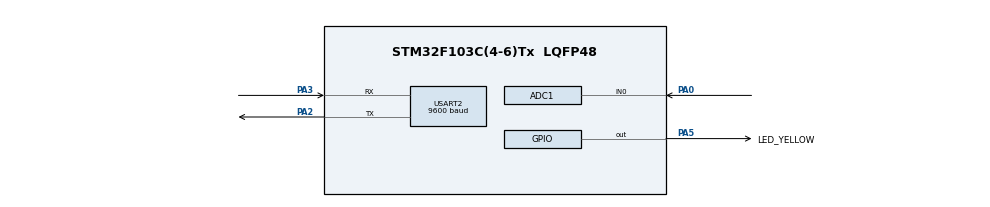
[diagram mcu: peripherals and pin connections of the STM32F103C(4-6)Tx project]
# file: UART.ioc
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ADC1.Channel-0\#ChannelRegularConversion=ADC_CHANNEL_0
ADC1.ContinuousConvMode=ENABLE
ADC1.NbrOfConversionFlag=1
ADC1.Rank-0\#ChannelRegularConversion=1
ADC1.SamplingTime-0\#ChannelRegularConversion=ADC_SAMPLETIME_1CYCLE_5
ADC1.master=1
Mcu.Family=STM32F1
Mcu.Name=STM32F103C(4-6)Tx
Mcu.Package=LQFP48
NVIC.PriorityGroup=NVIC_PRIORITYGROUP_4
NVIC.TIM2_IRQn=true\:0\:0\:false\:false\:true\:true\:true
NVIC.USART2_IRQn=true\:0\:0\:false\:false\:true\:true\:true
PA0-WKUP.Signal=ADCx_IN0
PA2.Mode=Asynchronous
PA2.Signal=USART2_TX
PA3.Mode=Asynchronous
PA3.Signal=USART2_RX
PA5.GPIO_Label=LED_YELLOW
PA5.Signal=GPIO_Output
ProjectManager.HeapSize=0x200
ProjectManager.StackSize=0x400
ProjectManager.TargetToolchain=STM32CubeIDE
RCC.APB1Freq_Value=8000000
RCC.APB2Freq_Value=8000000
SH.ADCx_IN0.0=ADC1_IN0,IN0
TIM2.Period=9
TIM2.Prescaler=7999
USART2.BaudRate=9600
USART2.VirtualMode=VM_ASYNC
VP_SYS_VS_ND.Mode=No_Debug
VP_TIM2_VS_ClockSourceINT.Mode=Internal
board=custom

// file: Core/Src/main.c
/* USER CODE BEGIN Header */
/**
  ******************************************************************************
  * @file           : main.c
  * @brief          : Main program body
  ******************************************************************************
  * @attention
  *
  * <h2><center>&copy; Copyright (c) 2022 STMicroelectronics.
  * All rights reserved.</center></h2>
  *
  * This software component is licensed by ST under BSD 3-Clause license,
  * the "License"; You may not use this file except in compliance with the
  * License. You may obtain a copy of the License at:
  *                        opensource.org/licenses/BSD-3-Clause
  *
  ******************************************************************************
  */
/* USER CODE END Header */
#include "main.h"

/* USER CODE BEGIN Includes */
#include<stdio.h>
#include"uart.h"
#include"timer.h"

/* USER CODE END Includes */

TIM_HandleTypeDef htim2;

void SystemClock_Config(void);
static void MX_GPIO_Init(void);
static void MX_ADC1_Init(void);
static void MX_USART2_UART_Init(void);
static void MX_TIM2_Init(void);

/* USER CODE BEGIN 0 */

void HAL_UART_RxCpltCallback(UART_HandleTypeDef *huart){
	 HAL_UART_Transmit(&huart2 , &temp , 1 , 50);
	 if(huart->Instance==USART2 ){
		 buffer[index_buffer++]=temp;
		 if(index_buffer == MAX_BUFFER_SIZE){
			 index_buffer = 0;
		 }
		 buffer_flag = 1;

	 }
 	 HAL_UART_Receive_IT(&huart2 , &temp , 1);
}

/* USER CODE END 0 */

int main(void)
{

  /* MCU Configuration--------------------------------------------------------*/

  /* Reset of all peripherals, Initializes the Flash interface and the Systick. */
  HAL_Init();

  /* Configure the system clock */
  SystemClock_Config();

  /* Initialize all configured peripherals */
  MX_GPIO_Init();
  MX_ADC1_Init();
  MX_USART2_UART_Init();
  MX_TIM2_Init();
  /* USER CODE BEGIN 2 */
  setTimer1(10);
  setTimer2(10);
  HAL_UART_Receive_IT(&huart2, &temp, 1);
  HAL_ADC_Start(&hadc1);
  HAL_TIM_Base_Start_IT(&htim2);

  /* USER CODE END 2 */

  /* Infinite loop */
  /* USER CODE BEGIN WHILE */
  while (1)
  {
	  /*
	  HAL_GPIO_TogglePin(LED_YELLOW_GPIO_Port , LED_YELLOW_Pin);
	  ADC_value = HAL_ADC_GetValue(&hadc1);
	  HAL_UART_Transmit (&huart2, (void *)str, sprintf(str ,"%d\n", ADC_value), 1000);
	  HAL_Delay (500) ;
	  */
	  if(buffer_flag==1){
		  command_parser_fsm();
		  buffer_flag=0;
	  }
	  uart_communiation_fsm();
	  if(isTimerFlagRaised(2)){
		  HAL_GPIO_TogglePin(LED_YELLOW_GPIO_Port, LED_YELLOW_Pin);
		  setTimer2(1000/10);
	  }

    /* USER CODE END WHILE */

  }
}

void SystemClock_Config(void)
{
  RCC_OscInitTypeDef RCC_OscInitStruct = {0};
  RCC_ClkInitTypeDef RCC_ClkInitStruct = {0};
  RCC_PeriphCLKInitTypeDef PeriphClkInit = {0};

  /** Initializes the RCC Oscillators according to the specified parameters
  * in the RCC_OscInitTypeDef structure.
  */
  RCC_OscInitStruct.OscillatorType = RCC_OSCILLATORTYPE_HSI;
  RCC_OscInitStruct.HSIState = RCC_HSI_ON;
  RCC_OscInitStruct.HSICalibrationValue = RCC_HSICALIBRATION_DEFAULT;
  RCC_OscInitStruct.PLL.PLLState = RCC_PLL_NONE;
  if (HAL_RCC_OscConfig(&RCC_OscInitStruct) != HAL_OK)
  {
    Error_Handler();
  }
  /** Initializes the CPU, AHB and APB buses clocks
  */
  RCC_ClkInitStruct.ClockType = RCC_CLOCKTYPE_HCLK|RCC_CLOCKTYPE_SYSCLK
                              |RCC_CLOCKTYPE_PCLK1|RCC_CLOCKTYPE_PCLK2;
  RCC_ClkInitStruct.SYSCLKSource = RCC_SYSCLKSOURCE_HSI;
  RCC_ClkInitStruct.AHBCLKDivider = RCC_SYSCLK_DIV1;
  RCC_ClkInitStruct.APB1CLKDivider = RCC_HCLK_DIV1;
  RCC_ClkInitStruct.APB2CLKDivider = RCC_HCLK_DIV1;

  if (HAL_RCC_ClockConfig(&RCC_ClkInitStruct, FLASH_LATENCY_0) != HAL_OK)
  {
    Error_Handler();
  }
  PeriphClkInit.PeriphClockSelection = RCC_PERIPHCLK_ADC;
  PeriphClkInit.AdcClockSelection = RCC_ADCPCLK2_DIV2;
  if (HAL_RCCEx_PeriphCLKConfig(&PeriphClkInit) != HAL_OK)
  {
    Error_Handler();
  }
}

static void MX_ADC1_Init(void)
{

  ADC_ChannelConfTypeDef sConfig = {0};

  /** Common config
  */
  hadc1.Instance = ADC1;
  hadc1.Init.ScanConvMode = ADC_SCAN_DISABLE;
  hadc1.Init.ContinuousConvMode = ENABLE;
  hadc1.Init.DiscontinuousConvMode = DISABLE;
  hadc1.Init.ExternalTrigConv = ADC_SOFTWARE_START;
  hadc1.Init.DataAlign = ADC_DATAALIGN_RIGHT;
  hadc1.Init.NbrOfConversion = 1;
  if (HAL_ADC_Init(&hadc1) != HAL_OK)
  {
    Error_Handler();
  }
  /** Configure Regular Channel
  */
  sConfig.Channel = ADC_CHANNEL_0;
  sConfig.Rank = ADC_REGULAR_RANK_1;
  sConfig.SamplingTime = ADC_SAMPLETIME_1CYCLE_5;
  if (HAL_ADC_ConfigChannel(&hadc1, &sConfig) != HAL_OK)
  {
    Error_Handler();
  }

}

static void MX_TIM2_Init(void)
{

  TIM_ClockConfigTypeDef sClockSourceConfig = {0};
  TIM_MasterConfigTypeDef sMasterConfig = {0};

  htim2.Instance = TIM2;
  htim2.Init.Prescaler = 7999;
  htim2.Init.CounterMode = TIM_COUNTERMODE_UP;
  htim2.Init.Period = 9;
  htim2.Init.ClockDivision = TIM_CLOCKDIVISION_DIV1;
  htim2.Init.AutoReloadPreload = TIM_AUTORELOAD_PRELOAD_DISABLE;
  if (HAL_TIM_Base_Init(&htim2) != HAL_OK)
  {
    Error_Handler();
  }
  sClockSourceConfig.ClockSource = TIM_CLOCKSOURCE_INTERNAL;
  if (HAL_TIM_ConfigClockSource(&htim2, &sClockSourceConfig) != HAL_OK)
  {
    Error_Handler();
  }
  sMasterConfig.MasterOutputTrigger = TIM_TRGO_RESET;
  sMasterConfig.MasterSlaveMode = TIM_MASTERSLAVEMODE_DISABLE;
  if (HAL_TIMEx_MasterConfigSynchronization(&htim2, &sMasterConfig) != HAL_OK)
  {
    Error_Handler();
  }

}

static void MX_USART2_UART_Init(void)
{

  huart2.Instance = USART2;
  huart2.Init.BaudRate = 9600;
  huart2.Init.WordLength = UART_WORDLENGTH_8B;
  huart2.Init.StopBits = UART_STOPBITS_1;
  huart2.Init.Parity = UART_PARITY_NONE;
  huart2.Init.Mode = UART_MODE_TX_RX;
  huart2.Init.HwFlowCtl = UART_HWCONTROL_NONE;
  huart2.Init.OverSampling = UART_OVERSAMPLING_16;
  if (HAL_UART_Init(&huart2) != HAL_OK)
  {
    Error_Handler();
  }

}

static void MX_GPIO_Init(void)
{
  GPIO_InitTypeDef GPIO_InitStruct = {0};

  /* GPIO Ports Clock Enable */
  __HAL_RCC_GPIOA_CLK_ENABLE();

  /*Configure GPIO pin Output Level */
  HAL_GPIO_WritePin(LED_YELLOW_GPIO_Port, LED_YELLOW_Pin, GPIO_PIN_RESET);

  /*Configure GPIO pin : LED_YELLOW_Pin */
  GPIO_InitStruct.Pin = LED_YELLOW_Pin;
  GPIO_InitStruct.Mode = GPIO_MODE_OUTPUT_PP;
  GPIO_InitStruct.Pull = GPIO_NOPULL;
  GPIO_InitStruct.Speed = GPIO_SPEED_FREQ_LOW;
  HAL_GPIO_Init(LED_YELLOW_GPIO_Port, &GPIO_InitStruct);

}

/* USER CODE BEGIN 4 */

void HAL_TIM_PeriodElapsedCallback(TIM_HandleTypeDef *htim){
	timerRun();
}

/* USER CODE END 4 */

void Error_Handler(void)
{
  __disable_irq();
  while (1)
  {
  }
}

/************************ (C) COPYRIGHT STMicroelectronics *****END OF FILE****/
